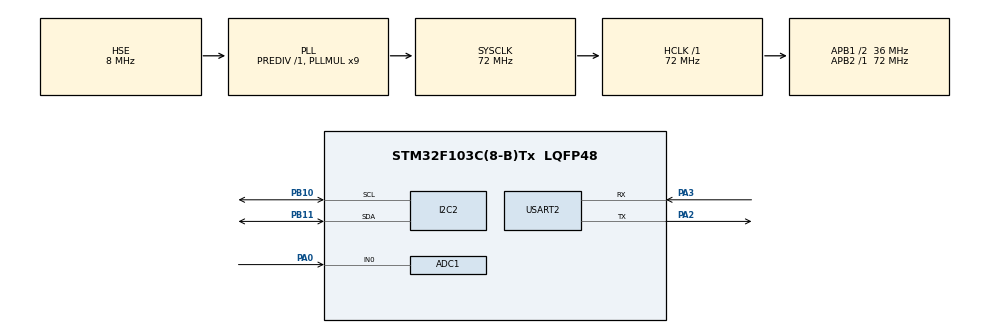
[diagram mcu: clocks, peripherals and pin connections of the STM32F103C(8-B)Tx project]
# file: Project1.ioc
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Mcu.Family=STM32F1
RCC.PLLSourceVirtual=RCC_PLLSOURCE_HSE
ADC1.Rank-0\#ChannelRegularConversion=1
PD1-OSC_OUT.Mode=HSE-External-Oscillator
PB10.Mode=I2C
ADC1.ContinuousConvMode=ENABLE
PD0-OSC_IN.Signal=RCC_OSC_IN
RCC.APB1CLKDivider=RCC_HCLK_DIV2
PB11.Signal=I2C2_SDA
NVIC.USART2_IRQn=true\:0\:0\:false\:false\:true\:true\:true
RCC.SYSCLKSource=RCC_SYSCLKSOURCE_PLLCLK
ProjectManager.StackSize=0x400
PA0-WKUP.Signal=ADCx_IN0
PD1-OSC_OUT.Signal=RCC_OSC_OUT
RCC.ADCPresc=RCC_ADCPCLK2_DIV6
PA13.Signal=SYS_JTMS-SWDIO
PA3.Mode=Asynchronous
TIM1.Prescaler=72-1
PB11.Mode=I2C
ProjectManager.TargetToolchain=STM32CubeIDE
RCC.HCLKFreq_Value=72000000
RCC.APB2TimFreq_Value=72000000
RCC.USBFreq_Value=72000000
RCC.AHBFreq_Value=72000000
PD0-OSC_IN.Mode=HSE-External-Oscillator
PB10.Signal=I2C2_SCL
ADC1.Channel-0\#ChannelRegularConversion=ADC_CHANNEL_0
board=custom
RCC.PLLMUL=RCC_PLL_MUL9
RCC.APB2Freq_Value=72000000
PA14.Mode=Serial_Wire
SH.ADCx_IN0.0=ADC1_IN0,IN0
PA13.Mode=Serial_Wire
Mcu.Name=STM32F103C(8-B)Tx
VP_TIM1_VS_ClockSourceINT.Mode=Internal
ADC1.SamplingTime-0\#ChannelRegularConversion=ADC_SAMPLETIME_1CYCLE_5
PA2.Signal=USART2_TX
RCC.SYSCLKFreq_VALUE=72000000
Mcu.Package=LQFP48
ADC1.master=1
USART2.VirtualMode=VM_ASYNC
PA14.Signal=SYS_JTCK-SWCLK
ProjectManager.HeapSize=0x200
NVIC.PriorityGroup=NVIC_PRIORITYGROUP_4
ADC1.NbrOfConversionFlag=1
RCC.APB1TimFreq_Value=72000000
PA2.Mode=Asynchronous
RCC.APB1Freq_Value=36000000
PA3.Signal=USART2_RX

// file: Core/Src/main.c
/* USER CODE BEGIN Header */
/**
  ******************************************************************************
  * @file           : main.c
  * @brief          : Main program body
  ******************************************************************************
  * @attention
  *
  * <h2><center>&copy; Copyright (c) 2022 STMicroelectronics.
  * All rights reserved.</center></h2>
  *
  * This software component is licensed by ST under BSD 3-Clause license,
  * the "License"; You may not use this file except in compliance with the
  * License. You may obtain a copy of the License at:
  *                        opensource.org/licenses/BSD-3-Clause
  *
  ******************************************************************************
  */
/* USER CODE END Header */
#include "main.h"

/* USER CODE BEGIN Includes */
#include "BH1750.h"
#include "SHT31.h"
#include "ESPDataLogger.h"
#include "subFunction.h"
#include "i2c&lcd.h"
/* USER CODE END Includes */

ADC_HandleTypeDef hadc1;

I2C_HandleTypeDef hi2c2;

TIM_HandleTypeDef htim1;

UART_HandleTypeDef huart2;

void SystemClock_Config(void);
static void MX_GPIO_Init(void);
static void MX_ADC1_Init(void);
static void MX_I2C2_Init(void);
static void MX_TIM1_Init(void);
static void MX_USART2_UART_Init(void);

/* USER CODE BEGIN 0 */
uint16_t value_up[4];
uint16_t soil_moisture;
float fsoil_moisture;
float lux= 0;
/* USER CODE END 0 */

int main(void)
{

  /* MCU Configuration--------------------------------------------------------*/

  /* Reset of all peripherals, Initializes the Flash interface and the Systick. */
  HAL_Init();

  /* Configure the system clock */
  SystemClock_Config();

  /* Initialize all configured peripherals */
  MX_GPIO_Init();
  MX_ADC1_Init();
  MX_I2C2_Init();
  MX_TIM1_Init();
  MX_USART2_UART_Init();
  /* USER CODE BEGIN 2 */
  HAL_TIM_Base_Start(&htim1);

    lcd_init();
    lcd_clear();
    lcd_send_string("Four variables");

    //set up connect ESP to wifi
    ESP_Init("TP-LINK_8803D8", "0988020288");

    //set up for BH1750FVI
    PowerDown();
    PowerOn();
    setMeasurement(CONT_H_MODE);

    HAL_Delay(1000);
    lcd_clear();

  /* USER CODE END 2 */

  /* Infinite loop */
  while (1)
  {

    /* USER CODE BEGIN 3 */
    // read temperature, humidity from SHT31
	  get_temp_humi();

    // first line of LCD
	  char str[16];
	  lcd_put_cur(0,0);
	  sprintf(str,"T:%.2f,H:%.2f", SHT31.Temperature, SHT31.Humidity);
	  lcd_send_string(str);

    // read light parameter (lux) from BH1750
	  lux = BH1750_getResult();

    // read value from soil moisture sensor (ADC pin)
	  HAL_ADC_Start(&hadc1);
	  HAL_ADC_PollForConversion(&hadc1, 100);
	  soil_moisture = HAL_ADC_GetValue(&hadc1);
	  HAL_ADC_Stop(&hadc1);

	  //mapping analog signal to %
	  fsoil_moisture = 100 - mapping((float)soil_moisture, 0, 4096, 0, 100);

    // second line LCD
	  char str1[16];
	  lcd_put_cur(1,0);
	  sprintf(str1,"S:%.2f,L:%.2f", fsoil_moisture, lux);
	  lcd_send_string(str1);

    // encapsulate sensor's parameter
	  value_up[0] = SHT31.Temperature;
	  value_up[1] = SHT31.Humidity;
	  value_up[2] = fsoil_moisture;
	  value_up[3] = lux;

    // push upto ThingSpeak base on API key from its own website
	  ESP_Send_Multi("F18PP9CB39PMVB5H", 4, value_up);

    // minimum delay for free use Thingspeak restriction
	  HAL_Delay(15000);

  }
  /* USER CODE END 3 */
}

void SystemClock_Config(void)
{
  RCC_OscInitTypeDef RCC_OscInitStruct = {0};
  RCC_ClkInitTypeDef RCC_ClkInitStruct = {0};
  RCC_PeriphCLKInitTypeDef PeriphClkInit = {0};

  /** Initializes the RCC Oscillators according to the specified parameters
  * in the RCC_OscInitTypeDef structure.
  */
  RCC_OscInitStruct.OscillatorType = RCC_OSCILLATORTYPE_HSE;
  RCC_OscInitStruct.HSEState = RCC_HSE_ON;
  RCC_OscInitStruct.HSEPredivValue = RCC_HSE_PREDIV_DIV1;
  RCC_OscInitStruct.HSIState = RCC_HSI_ON;
  RCC_OscInitStruct.PLL.PLLState = RCC_PLL_ON;
  RCC_OscInitStruct.PLL.PLLSource = RCC_PLLSOURCE_HSE;
  RCC_OscInitStruct.PLL.PLLMUL = RCC_PLL_MUL9;
  if (HAL_RCC_OscConfig(&RCC_OscInitStruct) != HAL_OK)
  {
    Error_Handler();
  }
  /** Initializes the CPU, AHB and APB buses clocks
  */
  RCC_ClkInitStruct.ClockType = RCC_CLOCKTYPE_HCLK|RCC_CLOCKTYPE_SYSCLK
                              |RCC_CLOCKTYPE_PCLK1|RCC_CLOCKTYPE_PCLK2;
  RCC_ClkInitStruct.SYSCLKSource = RCC_SYSCLKSOURCE_PLLCLK;
  RCC_ClkInitStruct.AHBCLKDivider = RCC_SYSCLK_DIV1;
  RCC_ClkInitStruct.APB1CLKDivider = RCC_HCLK_DIV2;
  RCC_ClkInitStruct.APB2CLKDivider = RCC_HCLK_DIV1;

  if (HAL_RCC_ClockConfig(&RCC_ClkInitStruct, FLASH_LATENCY_2) != HAL_OK)
  {
    Error_Handler();
  }
  PeriphClkInit.PeriphClockSelection = RCC_PERIPHCLK_ADC;
  PeriphClkInit.AdcClockSelection = RCC_ADCPCLK2_DIV6;
  if (HAL_RCCEx_PeriphCLKConfig(&PeriphClkInit) != HAL_OK)
  {
    Error_Handler();
  }
}

static void MX_ADC1_Init(void)
{

  ADC_ChannelConfTypeDef sConfig = {0};

  /** Common config
  */
  hadc1.Instance = ADC1;
  hadc1.Init.ScanConvMode = ADC_SCAN_DISABLE;
  hadc1.Init.ContinuousConvMode = ENABLE;
  hadc1.Init.DiscontinuousConvMode = DISABLE;
  hadc1.Init.ExternalTrigConv = ADC_SOFTWARE_START;
  hadc1.Init.DataAlign = ADC_DATAALIGN_RIGHT;
  hadc1.Init.NbrOfConversion = 1;
  if (HAL_ADC_Init(&hadc1) != HAL_OK)
  {
    Error_Handler();
  }
  /** Configure Regular Channel
  */
  sConfig.Channel = ADC_CHANNEL_0;
  sConfig.Rank = ADC_REGULAR_RANK_1;
  sConfig.SamplingTime = ADC_SAMPLETIME_1CYCLE_5;
  if (HAL_ADC_ConfigChannel(&hadc1, &sConfig) != HAL_OK)
  {
    Error_Handler();
  }

}

static void MX_I2C2_Init(void)
{

  hi2c2.Instance = I2C2;
  hi2c2.Init.ClockSpeed = 100000;
  hi2c2.Init.DutyCycle = I2C_DUTYCYCLE_2;
  hi2c2.Init.OwnAddress1 = 0;
  hi2c2.Init.AddressingMode = I2C_ADDRESSINGMODE_7BIT;
  hi2c2.Init.DualAddressMode = I2C_DUALADDRESS_DISABLE;
  hi2c2.Init.OwnAddress2 = 0;
  hi2c2.Init.GeneralCallMode = I2C_GENERALCALL_DISABLE;
  hi2c2.Init.NoStretchMode = I2C_NOSTRETCH_DISABLE;
  if (HAL_I2C_Init(&hi2c2) != HAL_OK)
  {
    Error_Handler();
  }

}

static void MX_TIM1_Init(void)
{

  TIM_ClockConfigTypeDef sClockSourceConfig = {0};
  TIM_MasterConfigTypeDef sMasterConfig = {0};

  htim1.Instance = TIM1;
  htim1.Init.Prescaler = 72-1;
  htim1.Init.CounterMode = TIM_COUNTERMODE_UP;
  htim1.Init.Period = 65535;
  htim1.Init.ClockDivision = TIM_CLOCKDIVISION_DIV1;
  htim1.Init.RepetitionCounter = 0;
  htim1.Init.AutoReloadPreload = TIM_AUTORELOAD_PRELOAD_DISABLE;
  if (HAL_TIM_Base_Init(&htim1) != HAL_OK)
  {
    Error_Handler();
  }
  sClockSourceConfig.ClockSource = TIM_CLOCKSOURCE_INTERNAL;
  if (HAL_TIM_ConfigClockSource(&htim1, &sClockSourceConfig) != HAL_OK)
  {
    Error_Handler();
  }
  sMasterConfig.MasterOutputTrigger = TIM_TRGO_RESET;
  sMasterConfig.MasterSlaveMode = TIM_MASTERSLAVEMODE_DISABLE;
  if (HAL_TIMEx_MasterConfigSynchronization(&htim1, &sMasterConfig) != HAL_OK)
  {
    Error_Handler();
  }

}

static void MX_USART2_UART_Init(void)
{

  huart2.Instance = USART2;
  huart2.Init.BaudRate = 115200;
  huart2.Init.WordLength = UART_WORDLENGTH_8B;
  huart2.Init.StopBits = UART_STOPBITS_1;
  huart2.Init.Parity = UART_PARITY_NONE;
  huart2.Init.Mode = UART_MODE_TX_RX;
  huart2.Init.HwFlowCtl = UART_HWCONTROL_NONE;
  huart2.Init.OverSampling = UART_OVERSAMPLING_16;
  if (HAL_UART_Init(&huart2) != HAL_OK)
  {
    Error_Handler();
  }

}

static void MX_GPIO_Init(void)
{

  /* GPIO Ports Clock Enable */
  __HAL_RCC_GPIOD_CLK_ENABLE();
  __HAL_RCC_GPIOA_CLK_ENABLE();
  __HAL_RCC_GPIOB_CLK_ENABLE();

}

void Error_Handler(void)
{
  __disable_irq();
  while (1)
  {
  }
}

/************************ (C) COPYRIGHT STMicroelectronics *****END OF FILE****/
